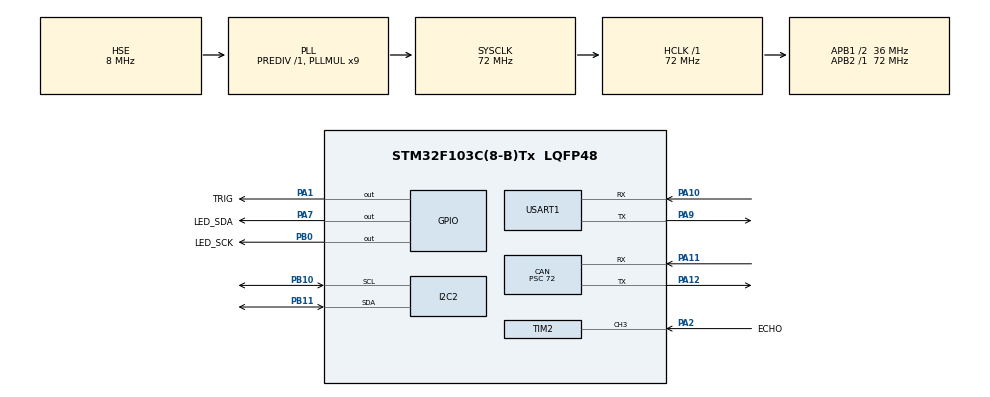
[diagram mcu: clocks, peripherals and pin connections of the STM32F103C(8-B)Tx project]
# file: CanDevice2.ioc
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CAN.ABOM=ENABLE
CAN.BS1=CAN_BS1_8TQ
CAN.CalculateBaudRate=50000
CAN.CalculateTimeBit=20000
CAN.CalculateTimeQuantum=2000.0
CAN.Prescaler=72
CAN.SJW=CAN_SJW_2TQ
FREERTOS.Queues01=MPU6050Queue,1,MPU6050_Data_t,0,Dynamic,NULL,NULL;DistanceQueue,2,HCSR04_Handle_t,0,Dynamic,NULL,NULL
FREERTOS.Tasks01=MPU6050Task,24,256,StartMPU6050Task,As weak,NULL,Dynamic,NULL,NULL;CANTask,40,256,StartCANTask,As weak,NULL,Dynamic,NULL,NULL;UltrasonicTask,8,256,StartUltrasonicTask,As weak,NULL,Dynamic,NULL,NULL
FREERTOS.configTOTAL_HEAP_SIZE=6192
Mcu.Family=STM32F1
Mcu.Name=STM32F103C(8-B)Tx
Mcu.Package=LQFP48
NVIC.PriorityGroup=NVIC_PRIORITYGROUP_4
NVIC.TIM2_IRQn=true\:5\:0\:false\:false\:true\:true\:true\:true\:true
NVIC.TIM3_IRQn=true\:15\:0\:false\:false\:true\:false\:false\:true\:true
NVIC.TimeBase=TIM3_IRQn
NVIC.TimeBaseIP=TIM3
PA1.GPIO_Label=TRIG
PA1.GPIO_PuPd=GPIO_PULLUP
PA1.PinState=GPIO_PIN_SET
PA1.Signal=GPIO_Output
PA10.Mode=Asynchronous
PA10.Signal=USART1_RX
PA11.Mode=CAN_Activate
PA11.Signal=CAN_RX
PA12.Mode=CAN_Activate
PA12.Signal=CAN_TX
PA13.Mode=Serial_Wire
PA13.Signal=SYS_JTMS-SWDIO
PA14.Mode=Serial_Wire
PA14.Signal=SYS_JTCK-SWCLK
PA2.GPIO_Label=ECHO
PA2.Signal=S_TIM2_CH3
PA7.GPIO_Label=LED_SDA
PA7.GPIO_ModeDefaultOutputPP=GPIO_MODE_OUTPUT_OD
PA7.GPIO_PuPd=GPIO_NOPULL
PA7.Signal=GPIO_Output
PA9.Mode=Asynchronous
PA9.Signal=USART1_TX
PB0.GPIO_Label=LED_SCK
PB0.GPIO_ModeDefaultOutputPP=GPIO_MODE_OUTPUT_OD
PB0.GPIO_PuPd=GPIO_NOPULL
PB0.Signal=GPIO_Output
PB10.Mode=I2C
PB10.Signal=I2C2_SCL
PB11.Mode=I2C
PB11.Signal=I2C2_SDA
PD0-OSC_IN.Mode=HSE-External-Oscillator
PD0-OSC_IN.Signal=RCC_OSC_IN
PD1-OSC_OUT.Mode=HSE-External-Oscillator
PD1-OSC_OUT.Signal=RCC_OSC_OUT
ProjectManager.HeapSize=0x200
ProjectManager.StackSize=0x400
ProjectManager.TargetToolchain=CMake
RCC.AHBFreq_Value=72000000
RCC.APB1CLKDivider=RCC_HCLK_DIV2
RCC.APB1Freq_Value=36000000
RCC.APB1TimFreq_Value=72000000
RCC.APB2Freq_Value=72000000
RCC.APB2TimFreq_Value=72000000
RCC.HCLKFreq_Value=72000000
RCC.PLLMUL=RCC_PLL_MUL9
RCC.PLLSourceVirtual=RCC_PLLSOURCE_HSE
RCC.SYSCLKFreq_VALUE=72000000
RCC.SYSCLKSource=RCC_SYSCLKSOURCE_PLLCLK
RCC.USBFreq_Value=72000000
SH.S_TIM2_CH3.0=TIM2_CH3,Input_Capture3_from_TI3
TIM2.Channel-Input_Capture3_from_TI3=TIM_CHANNEL_3
TIM2.Prescaler=72-1
USART1.VirtualMode=VM_ASYNC
VP_FREERTOS_VS_CMSIS_V2.Mode=CMSIS_V2
VP_SYS_VS_tim3.Mode=TIM3
board=custom

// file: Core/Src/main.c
/* USER CODE BEGIN Header */
/**
 ******************************************************************************
 * @file           : main.c
 * @brief          : Main program body
 ******************************************************************************
 * @attention
 *
 * Copyright (c) 2026 STMicroelectronics.
 * All rights reserved.
 *
 * This software is licensed under terms that can be found in the LICENSE file
 * in the root directory of this software component.
 * If no LICENSE file comes with this software, it is provided AS-IS.
 *
 ******************************************************************************
 */
/* USER CODE END Header */
#include "main.h"
#include "SSD1306.h"
#include "can.h"
#include "cmsis_os.h"
#include "gpio.h"
#include "i2c.h"
#include "tim.h"
#include "usart.h"

void SystemClock_Config(void);
void MX_FREERTOS_Init(void);

/* USER CODE BEGIN 0 */

static void BoardLed_Init(void) {
  GPIO_InitTypeDef GPIO_InitStruct = {0};

  __HAL_RCC_GPIOC_CLK_ENABLE();
  HAL_GPIO_WritePin(GPIOC, GPIO_PIN_13, GPIO_PIN_RESET);
  GPIO_InitStruct.Pin = GPIO_PIN_13;
  GPIO_InitStruct.Mode = GPIO_MODE_OUTPUT_PP;
  GPIO_InitStruct.Pull = GPIO_NOPULL;
  GPIO_InitStruct.Speed = GPIO_SPEED_FREQ_LOW;
  HAL_GPIO_Init(GPIOC, &GPIO_InitStruct);
}

/* USER CODE END 0 */

int main(void) {

  /* USER CODE BEGIN 1 */
  __disable_irq();
  SCB->VTOR = 0x8004000;
  __enable_irq();
  /* USER CODE END 1 */

  /* MCU Configuration--------------------------------------------------------*/

  /* Reset of all peripherals, Initializes the Flash interface and the Systick.
   */
  HAL_Init();

  /* Configure the system clock */
  SystemClock_Config();

  /* Initialize all configured peripherals */
  MX_GPIO_Init();
  MX_USART1_UART_Init();
  MX_CAN_Init();
  MX_I2C2_Init();
  MX_TIM2_Init();
  /* USER CODE BEGIN 2 */
  BoardLed_Init();
  SSD1306_Init();
  SSD1306_Clear();
  /* USER CODE END 2 */

  /* Init scheduler */
  osKernelInitialize(); /* Call init function for freertos objects (in
                           cmsis_os2.c) */
  MX_FREERTOS_Init();

  /* Start scheduler */
  osKernelStart();

  /* We should never get here as control is now taken by the scheduler */

  /* Infinite loop */
  while (1) {

  }
}

void SystemClock_Config(void) {
  RCC_OscInitTypeDef RCC_OscInitStruct = {0};
  RCC_ClkInitTypeDef RCC_ClkInitStruct = {0};

  /** Initializes the RCC Oscillators according to the specified parameters
   * in the RCC_OscInitTypeDef structure.
   */
  RCC_OscInitStruct.OscillatorType = RCC_OSCILLATORTYPE_HSE;
  RCC_OscInitStruct.HSEState = RCC_HSE_ON;
  RCC_OscInitStruct.HSEPredivValue = RCC_HSE_PREDIV_DIV1;
  RCC_OscInitStruct.HSIState = RCC_HSI_ON;
  RCC_OscInitStruct.PLL.PLLState = RCC_PLL_ON;
  RCC_OscInitStruct.PLL.PLLSource = RCC_PLLSOURCE_HSE;
  RCC_OscInitStruct.PLL.PLLMUL = RCC_PLL_MUL9;
  if (HAL_RCC_OscConfig(&RCC_OscInitStruct) != HAL_OK) {
    Error_Handler();
  }

  /** Initializes the CPU, AHB and APB buses clocks
   */
  RCC_ClkInitStruct.ClockType = RCC_CLOCKTYPE_HCLK | RCC_CLOCKTYPE_SYSCLK |
                                RCC_CLOCKTYPE_PCLK1 | RCC_CLOCKTYPE_PCLK2;
  RCC_ClkInitStruct.SYSCLKSource = RCC_SYSCLKSOURCE_PLLCLK;
  RCC_ClkInitStruct.AHBCLKDivider = RCC_SYSCLK_DIV1;
  RCC_ClkInitStruct.APB1CLKDivider = RCC_HCLK_DIV2;
  RCC_ClkInitStruct.APB2CLKDivider = RCC_HCLK_DIV1;

  if (HAL_RCC_ClockConfig(&RCC_ClkInitStruct, FLASH_LATENCY_2) != HAL_OK) {
    Error_Handler();
  }
}

void HAL_TIM_PeriodElapsedCallback(TIM_HandleTypeDef *htim) {
  if (htim->Instance == TIM3) {
    HAL_IncTick();
  }
}

void Error_Handler(void) {
  __disable_irq();
  while (1) {
  }
}
#ifdef USE_FULL_ASSERT
/**
 * @brief  Reports the name of the source file and the source line number
 *         where the assert_param error has occurred.
 * @param  file: pointer to the source file name
 * @param  line: assert_param error line source number
 * @retval None
 */
void assert_failed(uint8_t *file, uint32_t line) {
  /* USER CODE BEGIN 6 */
  /* User can add his own implementation to report the file name and line
     number, ex: printf("Wrong parameters value: file %s on line %d\r\n", file,
     line) */
  /* USER CODE END 6 */
}
#endif /* USE_FULL_ASSERT */

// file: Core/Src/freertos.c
/* USER CODE BEGIN Header */
/**
  ******************************************************************************
  * File Name          : freertos.c
  * Description        : Code for freertos applications
  ******************************************************************************
  * @attention
  *
  * Copyright (c) 2026 STMicroelectronics.
  * All rights reserved.
  *
  * This software is licensed under terms that can be found in the LICENSE file
  * in the root directory of this software component.
  * If no LICENSE file comes with this software, it is provided AS-IS.
  *
  ******************************************************************************
  */
/* USER CODE END Header */

#include "FreeRTOS.h"
#include "task.h"
#include "main.h"
#include "cmsis_os.h"

/* USER CODE BEGIN Includes */
#include "MPU6050.h"
#include "HCSR04.h"
/* USER CODE END Includes */

/* Definitions for MPU6050Task */
osThreadId_t MPU6050TaskHandle;
const osThreadAttr_t MPU6050Task_attributes = {
  .name = "MPU6050Task",
  .stack_size = 256 * 4,
  .priority = (osPriority_t) osPriorityNormal,
};
/* Definitions for CANTask */
osThreadId_t CANTaskHandle;
const osThreadAttr_t CANTask_attributes = {
  .name = "CANTask",
  .stack_size = 256 * 4,
  .priority = (osPriority_t) osPriorityHigh,
};
/* Definitions for UltrasonicTask */
osThreadId_t UltrasonicTaskHandle;
const osThreadAttr_t UltrasonicTask_attributes = {
  .name = "UltrasonicTask",
  .stack_size = 256 * 4,
  .priority = (osPriority_t) osPriorityLow,
};
/* Definitions for MPU6050Queue */
osMessageQueueId_t MPU6050QueueHandle;
const osMessageQueueAttr_t MPU6050Queue_attributes = {
  .name = "MPU6050Queue"
};
/* Definitions for DistanceQueue */
osMessageQueueId_t DistanceQueueHandle;
const osMessageQueueAttr_t DistanceQueue_attributes = {
  .name = "DistanceQueue"
};

void StartMPU6050Task(void *argument);
void StartCANTask(void *argument);
void StartUltrasonicTask(void *argument);

void MX_FREERTOS_Init(void); /* (MISRA C 2004 rule 8.1) */

void MX_FREERTOS_Init(void) {

  /* Create the queue(s) */
  /* creation of MPU6050Queue */
  MPU6050QueueHandle = osMessageQueueNew (1, sizeof(MPU6050_Data_t), &MPU6050Queue_attributes);

  /* creation of DistanceQueue */
  DistanceQueueHandle = osMessageQueueNew (2, sizeof(HCSR04_Handle_t), &DistanceQueue_attributes);

  /* Create the thread(s) */
  /* creation of MPU6050Task */
  MPU6050TaskHandle = osThreadNew(StartMPU6050Task, NULL, &MPU6050Task_attributes);

  /* creation of CANTask */
  CANTaskHandle = osThreadNew(StartCANTask, NULL, &CANTask_attributes);

  /* creation of UltrasonicTask */
  UltrasonicTaskHandle = osThreadNew(StartUltrasonicTask, NULL, &UltrasonicTask_attributes);

}

__weak void StartMPU6050Task(void *argument)
{
  for(;;)
  {
    osDelay(1);
  }
}

__weak void StartCANTask(void *argument)
{
  for(;;)
  {
    osDelay(1);
  }
}

__weak void StartUltrasonicTask(void *argument)
{
  for(;;)
  {
    osDelay(1);
  }
}
